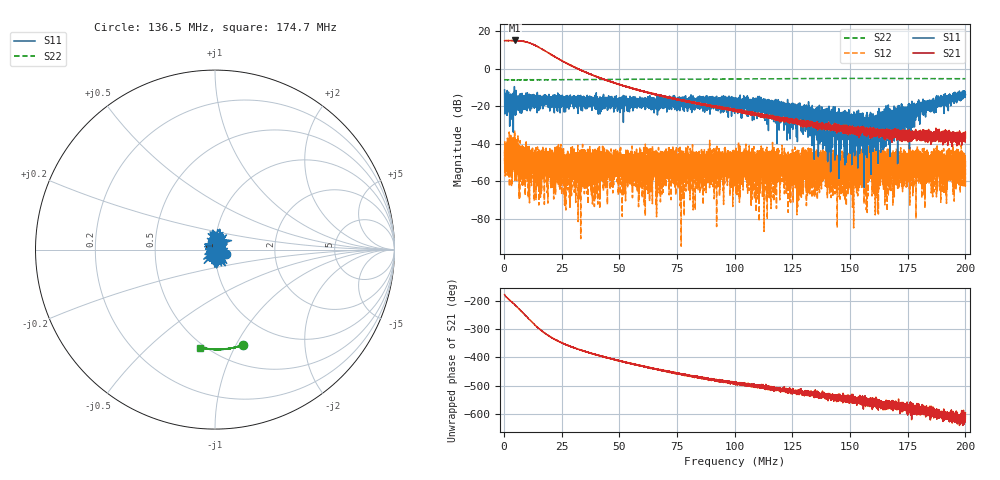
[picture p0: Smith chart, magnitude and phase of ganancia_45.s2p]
# Hz S DB R 50
! CMT, M5065, 19127446, 24.2.4/2
! Date: 11/8/2024 4:11:23 PM
! Data: Format (Calibration Info)
! Freq	S11:dB/Ang(F2)	S21:dB/Ang(F2)	S12:dB/Ang(F2)	S22:dB/Ang(F2)
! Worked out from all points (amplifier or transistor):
!   9000 points, 300 kHz to 200 MHz, reference 50 ohm
!   highest |S21| = 15.1 dB at 4.672 MHz (marker M1)
!   |S21| within 3 dB of that: start of sweep to 14.2 MHz
!   unconditionally stable (mu >= 1): start of sweep to end of sweep
!   at 33.59 MHz: K = 617.08, MAG = 0.6 dB, |S12| = -63.9 dB
!   at 100.2 MHz: K = 2065.25, MAG = -20.6 dB, |S12| = -53.3 dB
!   at 200 MHz: K = 6693.87, MAG = -35.3 dB, |S12| = -49.0 dB
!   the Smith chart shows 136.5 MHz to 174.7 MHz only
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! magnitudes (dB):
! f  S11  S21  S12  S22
! 300 kHz  -11.2  15.0  -43.4  -5.8
! 1.321 MHz  -21.7  15.1  -43.7  -5.8
! 4.672 MHz  -17.5  15.1  -47.2  -5.9
! 15.1 MHz  -17.9  11.5  -43.1  -5.8
! 17.76 MHz  -16.6  9.6  -45.6  -5.8
! 33.59 MHz  -16.5  -0.8  -63.9  -5.7
! 48.39 MHz  -19.5  -7.8  -57.5  -5.6
! 51.81 MHz  -17.9  -9.0  -67.1  -5.6
! 53.83 MHz  -19.7  -9.8  -51.5  -5.6
! 66.87 MHz  -19.4  -14.1  -53.0  -5.5
! 100.2 MHz  -19.8  -22.1  -53.3  -5.4
! 130.4 MHz  -23.1  -30.2  -52.2  -5.2
! 133.4 MHz  -21.3  -30.0  -48.7  -5.1
! 151.1 MHz  -32.1  -32.0  -73.8  -5.1
! 155.1 MHz  -31.3  -33.6  -63.2  -5.1
! 157 MHz  -33.7  -33.8  -48.3  -5.1
! 166.7 MHz  -32.2  -33.0  -51.0  -5.1
! 178.8 MHz  -25.8  -38.2  -44.3  -5.2
! 181.6 MHz  -16.2  -35.7  -50.5  -5.2
! 187.7 MHz  -18.1  -32.8  -45.9  -5.2
! 189.7 MHz  -15.0  -36.4  -59.3  -5.3
! 200 MHz  -13.7  -37.0  -49.0  -5.3
